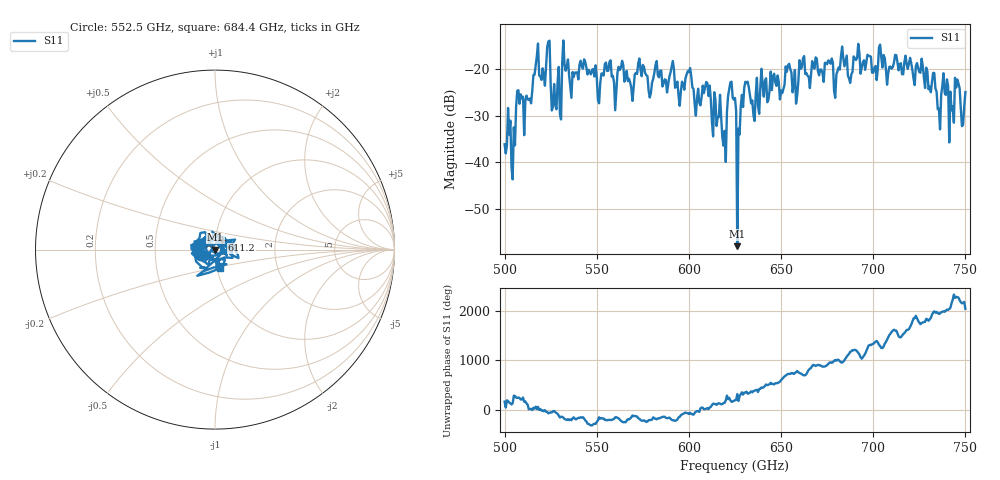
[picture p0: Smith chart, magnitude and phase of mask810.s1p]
!Created with skrf (http://scikit-rf.org).
# GHz S MA R 50.0
!freq magS11 angS11
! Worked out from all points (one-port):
!   401 points, 500 GHz to 750 GHz, reference 50 ohm
!   lowest |S11| = -58.1 dB at 626.2 GHz (marker M1), VSWR 1.00, Z = 50.1 - j0.0741 ohm
!   |S11| at or under -10 dB: start of sweep to end of sweep
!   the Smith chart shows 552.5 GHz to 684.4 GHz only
!   S11 on the Smith chart (normalised r, x): 552.5 GHz: 0.85, -0.06; 611.2 GHz: 1.07, +0.12; 684.4 GHz: 1.03, -0.22
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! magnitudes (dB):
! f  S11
! 500 GHz  -36.2
! 505 GHz  -32.5
! 507.5 GHz  -24.5
! 511.9 GHz  -25.7
! 516.9 GHz  -19.1
! 523.8 GHz  -14.0
! 526.9 GHz  -23.2
! 531.2 GHz  -18.6
! 552.5 GHz  -20.9
! 562.5 GHz  -20.2
! 593.8 GHz  -22.7
! 600 GHz  -20.6
! 611.2 GHz  -23.5
! 618.8 GHz  -36.5
! 623.1 GHz  -22.7
! 625 GHz  -26.2
! 626.2 GHz  -58.1
! 631.2 GHz  -23.0
! 635 GHz  -29.8
! 656.2 GHz  -25.0
! 684.4 GHz  -19.4
! 687.5 GHz  -22.9
! 718.8 GHz  -19.9
! 735.6 GHz  -28.5
! 738.8 GHz  -25.0
! 742.5 GHz  -28.9
! 745.6 GHz  -22.2
! 750 GHz  -24.9
